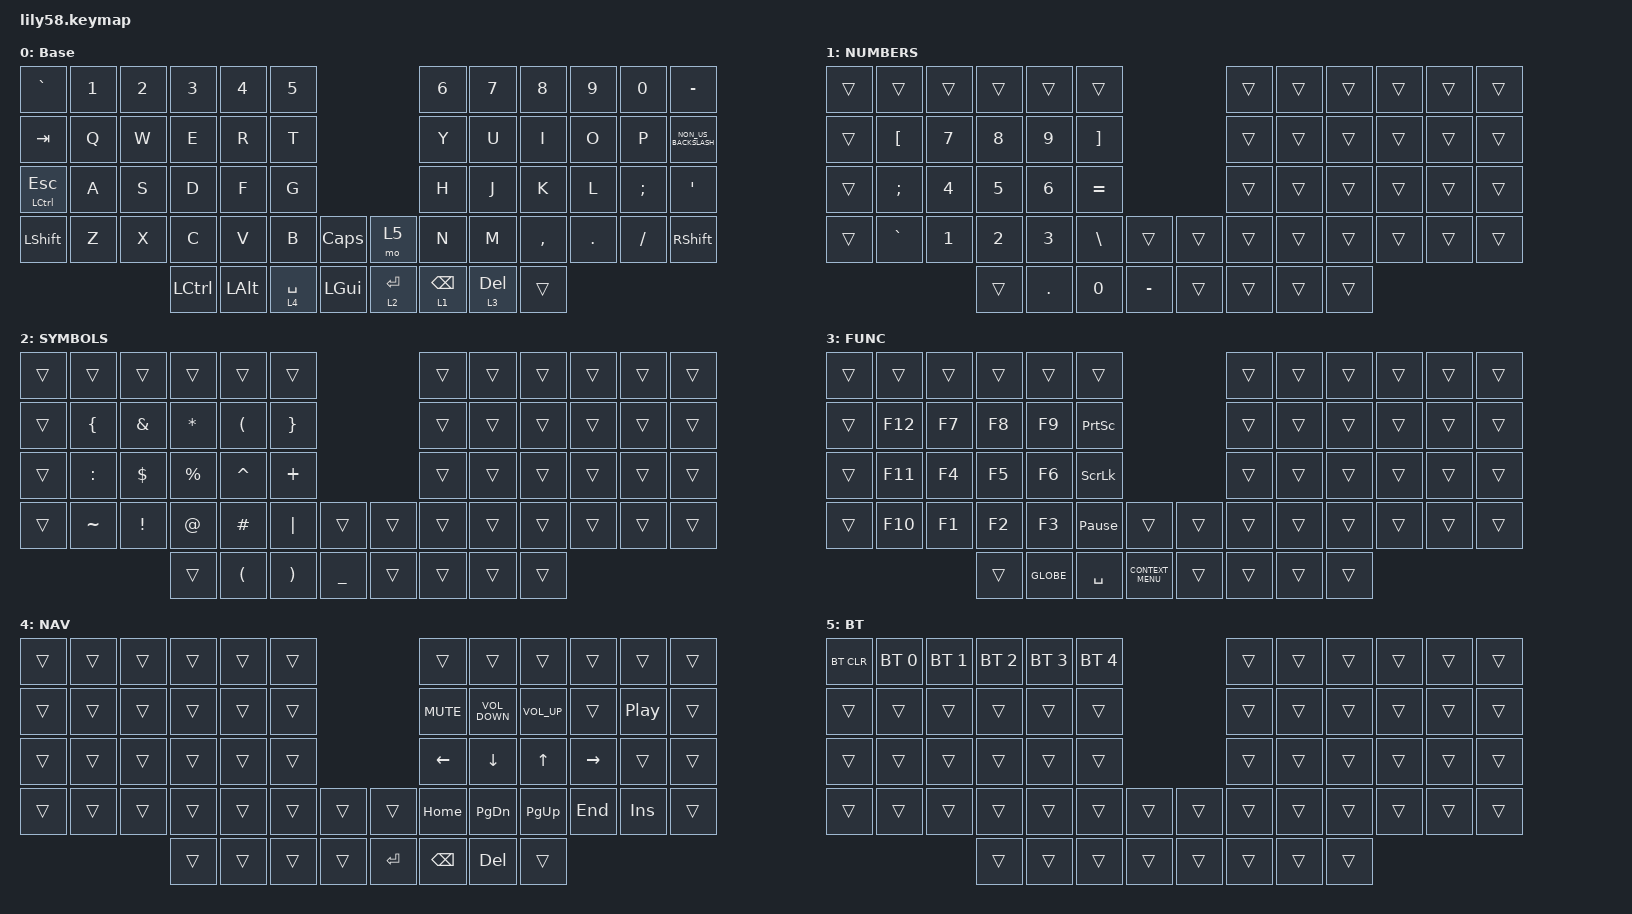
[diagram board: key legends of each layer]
/*
 * Copyright (c) 2020 The ZMK Contributors
 *
 * SPDX-License-Identifier: MIT
 */

#include <behaviors.dtsi>
#include <dt-bindings/zmk/bt.h>
#include <dt-bindings/zmk/keys.h>

/ {
    keymap {
        compatible = "zmk,keymap";

        base {
            // ------------------------------------------------------------------------------------------------------------
            // |  ESC  |  1  |  2  |  3   |  4   |  5   |                   |  6   |  7    |  8    |  9   |   0   |   `   |
            // |  TAB  |  Q  |  W  |  E   |  R   |  T   |                   |  Y   |  U    |  I    |  O   |   P   |   -   |
            // |  CTRL |  A  |  S  |  D   |  F   |  G   |                   |  H   |  J    |  K    |  L   |   ;   |   '   |
            // | SHIFT |  Z  |  X  |  C   |  V   |  B   |   "["  |  |  "]"  |  N   |  M    |  ,    |  .   |   /   | SHIFT |
            //                     | ALT  | GUI  | LOWER|  SPACE |  | ENTER | RAISE| BSPC  | GUI   |

            display-name = "Base";
            bindings = <
&kp GRAVE                &kp N1  &kp N2  &kp N3            &kp N4        &kp N5                                     &kp N6           &kp N7        &kp N8     &kp N9   &kp N0    &kp MINUS
&kp TAB                  &kp Q   &kp W   &kp E             &kp R         &kp T                                      &kp Y            &kp U         &kp I      &kp O    &kp P     &kp NON_US_BACKSLASH
&mt LEFT_CONTROL ESCAPE  &kp A   &kp S   &kp D             &kp F         &kp G                                      &kp H            &kp J         &kp K      &kp L    &kp SEMI  &kp SQT
&kp LEFT_SHIFT           &kp Z   &kp X   &kp C             &kp V         &kp B        &kp CAPSLOCK    &mo 5         &kp N            &kp M         &kp COMMA  &kp DOT  &kp FSLH  &kp RSHFT
                                         &kp LEFT_CONTROL  &kp LEFT_ALT  &lt 4 SPACE  &kp LEFT_GUI    &lt 2 RETURN  &lt 1 BACKSPACE  &lt 3 DELETE  &trans
            >;

            label = "BASE";
        };

        NUMBERS {
            bindings = <
&trans  &trans     &trans        &trans        &trans      &trans                             &trans  &trans  &trans  &trans  &trans  &trans
&trans  &kp LBKT   &kp N7        &kp N8        &kp N9      &kp RBKT                           &trans  &trans  &trans  &trans  &trans  &trans
&trans  &kp SEMI   &kp N4        &kp N5        &kp N6      &kp EQUAL                          &trans  &trans  &trans  &trans  &trans  &trans
&trans  &kp GRAVE  &kp NUMBER_1  &kp NUMBER_2  &kp N3      &kp BSLH      &trans       &trans  &trans  &trans  &trans  &trans  &trans  &trans
                                 &trans        &kp PERIOD  &kp NUMBER_0  &kp MINUS    &trans  &trans  &trans  &trans
            >;

            label = "NUMBERS";
        };

        SYMBOLS {
            bindings = <
&trans  &trans          &trans           &trans        &trans                &trans                                           &trans  &trans  &trans  &trans  &trans  &trans
&trans  &kp LEFT_BRACE  &kp AMPERSAND    &kp ASTERISK  &kp LEFT_PARENTHESIS  &kp RIGHT_BRACE                                  &trans  &trans  &trans  &trans  &trans  &trans
&trans  &kp COLON       &kp DOLLAR       &kp PERCENT   &kp CARET             &kp PLUS                                         &trans  &trans  &trans  &trans  &trans  &trans
&trans  &kp TILDE       &kp EXCLAMATION  &kp AT_SIGN   &kp HASH              &kp PIPE               &trans            &trans  &trans  &trans  &trans  &trans  &trans  &trans
                                         &trans        &kp LEFT_PARENTHESIS  &kp RIGHT_PARENTHESIS  &kp UNDERSCORE    &trans  &trans  &trans  &trans
            >;

            label = "SYMBOLS";
        };

        FUNC {
            bindings = <
&trans  &trans   &trans  &trans  &trans     &trans                                         &trans  &trans  &trans  &trans  &trans  &trans
&trans  &kp F12  &kp F7  &kp F8  &kp F9     &kp PRINTSCREEN                                &trans  &trans  &trans  &trans  &trans  &trans
&trans  &kp F11  &kp F4  &kp F5  &kp F6     &kp SCROLLLOCK                                 &trans  &trans  &trans  &trans  &trans  &trans
&trans  &kp F10  &kp F1  &kp F2  &kp F3     &kp PAUSE_BREAK  &trans                &trans  &trans  &trans  &trans  &trans  &trans  &trans
                         &trans  &kp GLOBE  &kp SPACE        &kp K_CONTEXT_MENU    &trans  &trans  &trans  &trans
            >;

            label = "FUNC";
        };

        NAV {
            bindings = <
&trans  &trans  &trans  &trans  &trans  &trans                     &trans         &trans             &trans           &trans     &trans            &trans
&trans  &trans  &trans  &trans  &trans  &trans                     &kp C_MUTE     &kp C_VOLUME_DOWN  &kp C_VOLUME_UP  &trans     &kp C_PLAY_PAUSE  &trans
&trans  &trans  &trans  &trans  &trans  &trans                     &kp LEFT       &kp DOWN           &kp UP           &kp RIGHT  &trans            &trans
&trans  &trans  &trans  &trans  &trans  &trans  &trans    &trans   &kp HOME       &kp PAGE_DOWN      &kp PAGE_UP      &kp END    &kp INSERT        &trans
                        &trans  &trans  &trans  &trans    &kp RET  &kp BACKSPACE  &kp DELETE         &trans
            >;

            label = "NAV";
        };

        BT {
            bindings = <
&bt BT_CLR  &bt BT_SEL 0  &bt BT_SEL 1  &bt BT_SEL 2  &bt BT_SEL 3  &bt BT_SEL 4                    &trans  &trans  &trans  &trans  &trans  &trans
&trans      &trans        &trans        &trans        &trans        &trans                          &trans  &trans  &trans  &trans  &trans  &trans
&trans      &trans        &trans        &trans        &trans        &trans                          &trans  &trans  &trans  &trans  &trans  &trans
&trans      &trans        &trans        &trans        &trans        &trans        &trans    &trans  &trans  &trans  &trans  &trans  &trans  &trans
                                        &trans        &trans        &trans        &trans    &trans  &trans  &trans  &trans
            >;

            label = "BT";
        };
    };
};
